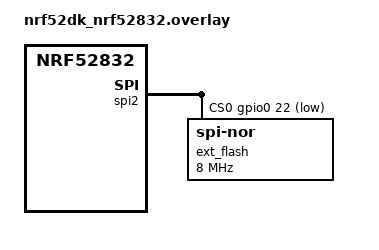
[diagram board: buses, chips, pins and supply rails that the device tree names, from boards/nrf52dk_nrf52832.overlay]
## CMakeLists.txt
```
# Cremind Tag bridge (docs/bridge-firmware.md). Build with tools/build.py:
#   python tools/build.py bridge-nrf52840dk bridge-nrf52dk
cmake_minimum_required(VERSION 3.20.0)
find_package(Zephyr REQUIRED HINTS $ENV{ZEPHYR_BASE})
project(cremind_tag_bridge)

# Build id for HELLO/INFO: the repository's git describe, when available.
execute_process(
  COMMAND git -c safe.directory=* -C ${CMAKE_CURRENT_SOURCE_DIR} describe --always --dirty --abbrev=10
  OUTPUT_VARIABLE ctag_build_id
  OUTPUT_STRIP_TRAILING_WHITESPACE
  ERROR_QUIET
  RESULT_VARIABLE ctag_git_result)
if(NOT ctag_git_result EQUAL 0 OR ctag_build_id STREQUAL "")
  set(ctag_build_id "unknown")
endif()
zephyr_compile_definitions(CTAG_BRIDGE_BUILD="${ctag_build_id}")

target_include_directories(app PRIVATE src src/core)
target_sources(app PRIVATE
  src/core/bflash.c
  src/core/fontstore.c
  src/core/delivery.c
  src/core/tagsess.c
  src/core/maint.c
  src/main.c
  src/mesh.c
  src/central.c
  src/maint_port.c
  src/persist.c
  src/identify.c)
```

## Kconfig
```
# Cremind Tag bridge application options (docs/bridge-firmware.md).

rsource "Kconfig.bridge"

menu "Cremind Tag bridge application"

config CTAG_BRIDGE_BOARD_ID
	int "Protocol board id (spec.yaml boards)"
	default 3
	help
	  NRF52840_BRIDGE = 3, NRF52832_BRIDGE = 4 (set per SoC). Reported in
	  CAPS_STATUS, HELLO caps and the device UUID.

config CTAG_BRIDGE_WQ_STACK_SIZE
	int "Bridge work queue stack"
	default 4096
	help
	  Mesh message processing, layout validation (SHA-256), the render
	  pre-pass (renderer + QR ~0.5 KiB + the font-pack reader), the session
	  handshake (PSA HMAC/HKDF ~1 KiB) and settings writes.

config CTAG_BRIDGE_WQ_PRIORITY
	int "Bridge work queue priority"
	default 10
	help
	  Preemptible and below the mesh advertiser (7): rendering never delays
	  mesh transmissions.

config CTAG_BRIDGE_MAINT_PRIORITY
	int "Maintenance thread priority"
	default 12
	help
	  The maintenance thread is the main thread (after it started the work
	  queue), so its stack is CONFIG_MAIN_STACK_SIZE: CBOR decode (~0.5 KiB),
	  INFO's counter list (~1.2 KiB), and FONT_COMMIT's SHA-256 and
	  font-pack validation (fontpack_open ~0.5 KiB).

config CTAG_BRIDGE_MAINT_TX_RING
	int "Maintenance port: transmit ring (bytes)"
	default 512
	help
	  Responses are COBS-encoded into it block by block; the thread waits
	  while the port drains it.

config CTAG_BRIDGE_EVENT_QUEUE
	int "Bluetooth events queued for the work queue"
	default 32

config CTAG_BRIDGE_MESH_RXQ
	int "Vendor mesh messages queued for the work queue"
	default 8

config CTAG_BRIDGE_MESH_TXQ
	int "Outbound vendor mesh messages"
	default 12

config CTAG_BRIDGE_CFG_QUIET_MS
	int "No tag connections this long after provisioning (configuration)"
	default 10000

config CTAG_BRIDGE_TAG_SEEN_INTERVAL_MS
	int "TAG_SEEN at most this often per tag"
	default 60000

config CTAG_BRIDGE_LIVENESS_S
	int "Reboot after this long idle without any advertising report (0: off)"
	default 1800
	help
	  A provisioned, idle bridge (its mesh scanning) that hears no
	  advertising report at all for this long reboots: its scanner stopped
	  without an error the scheduler could see (docs/bridge-firmware.md 4).
	  Every mesh node in range beacons at least every 600 s.

endmenu

source "Kconfig.zephyr"
```

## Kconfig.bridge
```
# Bridge options shared by the application (Kconfig) and its native_sim tests
# (tests/*/Kconfig). docs/bridge-firmware.md explains each.

menu "Cremind Tag bridge"

config CTAG_BRIDGE_WORKING_SPACE
	int "External-flash working space (bytes)"
	default 16777216
	help
	  Bytes at the end of the external flash kept out of the two font-pack
	  slots: slot_size = align_down_64K((flash_size - working_space) / 2)
	  (docs/fontpack.md 3). Production parts use FONTPACK_WORKING_SPACE
	  (16 MiB); a development board with a small part (the nRF52840 DK's
	  8 MiB MX25R64) configures 1 MiB, which `cremind-tag fonts image`
	  assumes for that board. Holds the slot directory (64 KiB), the
	  pending-layout ring and a 64 KiB spare block.

config CTAG_BRIDGE_READ_CACHE_LINES
	int "Font-pack read cache: lines"
	default 16
	range 1 256

config CTAG_BRIDGE_READ_CACHE_LINE
	int "Font-pack read cache: bytes per line (power of two)"
	default 128
	help
	  The renderer reads strike records (12 B), glyph index entries (10 B)
	  and bitmap rows (<= 32 B) one at a time; a line holds the neighbours
	  that the next strip reads again.

config CTAG_BRIDGE_STRIP_BUF
	int "Strip buffer (bytes)"
	default 1024
	help
	  One strip of BRIDGE_STRIP_ROWS native rows: 800 bytes for a 400-px
	  panel. Wider panels render fewer rows per strip.

config CTAG_BRIDGE_MAX_TAGS
	int "Assignment table (tags per bridge, CAPS max_tags)"
	default 20
	range 1 20
	help
	  MAX_TAGS_PER_BRIDGE (20) unless the board's RAM needs a smaller
	  table. The bridge reports it as CAPS_STATUS.max_tags and answers
	  ASSIGN_SET beyond it with NO_RESOURCES.

config CTAG_BRIDGE_MAX_JOBS
	int "Jobs (pending layouts and tag commands)"
	default 24
	range 4 40
	help
	  Below the pending ring's minimum (2 * MAX_TAGS_PER_BRIDGE + 2 slots),
	  so a transfer always finds a free ring slot.

config CTAG_BRIDGE_RESULT_SLOTS
	int "DELIVERY_RESULTs awaiting RESULT_ACK"
	default 12
	range 2 64

config CTAG_BRIDGE_SESSIONS
	int "Tag sessions at once"
	default 1
	range 1 2
	help
	  Tag connections the bridge holds at once (docs/protocol.md 5.2).
	  Connections are initiated one at a time, each in its own mesh
	  suspend window, and a second one only while the first session's
	  link idles (its tag refreshing). Each session costs a struct tsess
	  (strip buffer, render work, records: ~4.5 KiB with four QR slots),
	  a Bluetooth connection (CONFIG_BT_MAX_CONN >= this) and ATT buffers
	  for its DATA fragments in flight (this x CTAG_BRIDGE_ATT_INFLIGHT <
	  CONFIG_BT_ATT_TX_COUNT). 2 on the nRF52840, 1 on the nRF52832.

config CTAG_BRIDGE_ATT_INFLIGHT
	int "DATA fragments handed to the host at once"
	default 6
	range 1 32
	help
	  Kept below CONFIG_BT_ATT_TX_COUNT so that writing a fragment never
	  blocks the bridge work queue on an ATT buffer.

config CTAG_BRIDGE_MAINT_MAX_FRAME
	int "Maintenance port: largest decoded frame (caps.max_frame)"
	default 4096
	range 256 4096
	help
	  The host learns it from HELLO's caps.max_frame and sizes FONT_DATA
	  chunks to fit (Cremind's app/tags/runtime/bridge_maint/client.py: max_frame - 36).

config CTAG_BRIDGE_MAINT_TX_FRAME
	int "Maintenance port: response frame buffer"
	default 1536
	range 256 4096
	help
	  Holds the largest response (INFO with every counter) and doubles as
	  FONT_COMMIT's read buffer for the pack's SHA-256.

config CTAG_BRIDGE_MAINT_CREDITS
	int "Maintenance port: frames the host may send ahead (caps.credits)"
	default 2
	range 1 8
	help
	  The receive ring must hold this many maximum-size encoded frames.

# The tag connection scheduler (lib/sched, CONFIG_CTAG_SCHED in prj.conf):
# one link per tag session and one back-off entry per assignable tag
# (central.c asserts both).
config CTAG_SCHED_LINKS
	default CTAG_BRIDGE_SESSIONS if CTAG_SCHED

config CTAG_SCHED_TAGS
	default CTAG_BRIDGE_MAX_TAGS if CTAG_SCHED

endmenu
```

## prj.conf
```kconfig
# Cremind Tag bridge: every target. Per-SoC fragments in socs/, per-board in
# boards/ (docs/building.md). Debug logging: debug.conf (docs/bridge-firmware.md).

# ---- Libraries (docs/firmware-libs.md) ----
CONFIG_CTAG_FRAME=y
CONFIG_CTAG_CBOR=y
CONFIG_CTAG_RENDER=y
CONFIG_CTAG_FRAG=y
CONFIG_CTAG_SESSION=y
# The tag connection scheduler (docs/protocol.md 5.2); its links and back-off
# entries follow CTAG_BRIDGE_SESSIONS and CTAG_BRIDGE_MAX_TAGS (Kconfig.bridge).
CONFIG_CTAG_SCHED=y

# ---- Bluetooth: the Zephyr controller (bt-ll-sw-split snippet) ----
CONFIG_BT=y
CONFIG_BT_CENTRAL=y
CONFIG_BT_OBSERVER=y
CONFIG_BT_BROADCASTER=y
CONFIG_BT_PERIPHERAL=n
CONFIG_BT_GATT_CLIENT=y
CONFIG_BT_MAX_CONN=1
CONFIG_BT_SMP=n
CONFIG_BT_SETTINGS=y
CONFIG_BT_DEVICE_NAME="Cremind Tag bridge"
CONFIG_BT_GATT_CACHING=n
CONFIG_BT_GAP_AUTO_UPDATE_CONN_PARAMS=n
# ATT MTU 23 (the protocol's baseline): fragments are ATT_VALUE_MAX bytes.
CONFIG_BT_L2CAP_TX_MTU=23
CONFIG_BT_BUF_ACL_RX_SIZE=27
CONFIG_BT_BUF_ACL_TX_SIZE=27
# DATA fragments in flight (CTAG_BRIDGE_ATT_INFLIGHT = 6) never exhaust these,
# so a write from the work queue never blocks on an ATT buffer.
CONFIG_BT_ATT_TX_COUNT=8
CONFIG_BT_L2CAP_TX_BUF_COUNT=8
CONFIG_BT_BUF_ACL_TX_COUNT=8
CONFIG_BT_BUF_EVT_RX_COUNT=12
CONFIG_BT_CTLR_CRYPTO=y

# ---- Bluetooth Mesh: provisionee + relay (docs/protocol.md 2) ----
CONFIG_BT_MESH=y
CONFIG_BT_MESH_PB_ADV=y
CONFIG_BT_MESH_PB_GATT=n
CONFIG_BT_MESH_PROVISIONEE=y
CONFIG_BT_MESH_GATT_PROXY=n
CONFIG_BT_MESH_FRIEND=n
CONFIG_BT_MESH_LOW_POWER=n
CONFIG_BT_MESH_CDB=n
CONFIG_BT_MESH_CFG_CLI=n
# Never the legacy advertiser: bt_mesh_suspend() can block forever with it
# (docs/firmware-notes.md correction 4).
CONFIG_BT_MESH_ADV_EXT=y
CONFIG_BT_MESH_RELAY=y
CONFIG_BT_MESH_RELAY_ENABLED=y
CONFIG_BT_MESH_RELAY_RETRANSMIT_COUNT=2
CONFIG_BT_MESH_RELAY_RETRANSMIT_INTERVAL=20
CONFIG_BT_MESH_DEFAULT_TTL=5
# 160-byte vendor parameters need >= MESH_MIN_SEG segments.
CONFIG_BT_MESH_TX_SEG_MAX=16
CONFIG_BT_MESH_RX_SEG_MAX=16
CONFIG_BT_MESH_TX_SEG_MSG_COUNT=2
CONFIG_BT_MESH_RX_SEG_MSG_COUNT=2

# ---- Storage: mesh state and the bridge's records (settings on NVS) ----
CONFIG_FLASH=y
CONFIG_FLASH_MAP=y
CONFIG_FLASH_PAGE_LAYOUT=y
CONFIG_NVS=y
CONFIG_SETTINGS=y

# ---- Crypto: PSA (mesh requires it; the tag session uses HMAC, SHA-256, CCM) ----
CONFIG_PSA_WANT_ALG_HMAC=y
CONFIG_PSA_WANT_ALG_SHA_256=y
CONFIG_PSA_WANT_ALG_CCM=y
CONFIG_PSA_WANT_KEY_TYPE_AES=y
CONFIG_PSA_WANT_KEY_TYPE_HMAC=y
CONFIG_ENTROPY_GENERATOR=y

# ---- Kernel and drivers ----
CONFIG_HWINFO=y
CONFIG_REBOOT=y
CONFIG_GPIO=y
CONFIG_SERIAL=y
CONFIG_UART_INTERRUPT_DRIVEN=y
CONFIG_RING_BUFFER=y
# main() starts the work queue (the boot runs on it) and then is the
# maintenance thread: CBOR, INFO's counters, FONT_COMMIT's SHA-256 and pack
# validation (CONFIG_CTAG_BRIDGE_MAINT_PRIORITY).
CONFIG_MAIN_STACK_SIZE=3072
CONFIG_SYSTEM_WORKQUEUE_STACK_SIZE=2048

# ---- No console or logging in release builds (the maintenance port owns the
# serial link); debug.conf routes logs to RTT. ----
CONFIG_LOG=n
CONFIG_CONSOLE=n
CONFIG_UART_CONSOLE=n
CONFIG_PRINTK=n
CONFIG_ASSERT=n
CONFIG_BOOT_BANNER=n
CONFIG_NCS_BOOT_BANNER=n
```

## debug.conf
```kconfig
# Debug builds only: logs and thread stack analysis over SEGGER RTT (the
# maintenance port keeps the serial link). Pass as an extra fragment:
#   west build ... -- -DEXTRA_CONF_FILE=debug.conf
CONFIG_LOG=y
CONFIG_LOG_MODE_DEFERRED=y
CONFIG_LOG_BACKEND_RTT=y
CONFIG_LOG_BACKEND_UART=n
CONFIG_USE_SEGGER_RTT=y
CONFIG_PRINTK=y
CONFIG_CONSOLE=y
CONFIG_RTT_CONSOLE=y
CONFIG_UART_CONSOLE=n
CONFIG_ASSERT=y
CONFIG_THREAD_NAME=y
CONFIG_THREAD_ANALYZER=y
CONFIG_THREAD_ANALYZER_USE_LOG=y
CONFIG_THREAD_ANALYZER_AUTO=y
CONFIG_THREAD_ANALYZER_AUTO_INTERVAL=60
```

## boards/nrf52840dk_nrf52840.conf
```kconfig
# nRF52840 DK (development): the on-board MX25R6435F has 8 MiB, so the working
# space is 1 MiB (docs/fontpack.md 3; `cremind-tag fonts image` assumes the
# same for this board). Production parts keep the 16 MiB default.
CONFIG_CTAG_BRIDGE_WORKING_SPACE=1048576

# Link into code_partition (boards/*.overlay): never into the storage.
CONFIG_USE_DT_CODE_PARTITION=y
```

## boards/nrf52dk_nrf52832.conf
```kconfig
# nRF52 DK (development): an 8 MiB placeholder SPI NOR, so a 1 MiB working
# space as on the nRF52840 DK.
CONFIG_CTAG_BRIDGE_WORKING_SPACE=1048576

# Link into code_partition (boards/*.overlay): never into the storage.
CONFIG_USE_DT_CODE_PARTITION=y
```

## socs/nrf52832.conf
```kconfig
# nRF52832 bridge (board id NRF52832_BRIDGE): 64 KiB of RAM, >= 8 KiB of it
# left free (tools/targets.yaml). Pending layouts stay in external flash.
CONFIG_CTAG_BRIDGE_BOARD_ID=4

# External SPI NOR (placeholder pins: boards/nrf52dk_nrf52832.overlay).
CONFIG_SPI=y
CONFIG_SPI_NOR=y
CONFIG_SPI_NOR_FLASH_LAYOUT_PAGE_SIZE=4096

# Maintenance port on the UART: 512-byte frames, one ahead (the client learns
# caps.max_frame from HELLO and sends 476-byte FONT_DATA chunks); the
# response buffer holds INFO with every counter (at most 1,117 bytes).
CONFIG_CTAG_BRIDGE_MAINT_MAX_FRAME=512
CONFIG_CTAG_BRIDGE_MAINT_TX_FRAME=1280
CONFIG_CTAG_BRIDGE_READ_CACHE_LINES=8
CONFIG_CTAG_BRIDGE_READ_CACHE_LINE=64

# ---- RAM (docs/bridge-firmware.md "Memory"): what the mesh bridge does not need ----
# One advertising set: relayed and own mesh messages share it (a 5-bridge
# network), no auxiliary sets (mesh and tags use legacy PDUs only).
CONFIG_BT_EXT_ADV_MAX_ADV_SET=1
CONFIG_BT_MESH_RELAY_ADV_SETS=0
CONFIG_BT_CTLR_ADV_SET=1
# (0 does not build: ull_adv needs TICKER_ID_ADV_AUX_BASE with ADV_EXT.)
CONFIG_BT_CTLR_ADV_AUX_SET=1
CONFIG_BT_CTLR_ADV_EXT_RX_PDU_LEN_MAX=31
# Mesh scanning wants every report: no controller duplicate filter.
CONFIG_BT_CTLR_DUP_FILTER_LEN=0
CONFIG_BT_MESH_RELAY_BUF_COUNT=6
CONFIG_BT_MESH_MSG_CACHE_SIZE=16
# Only unicast requests: no delayed responses.
CONFIG_BT_MESH_ACCESS_DELAYABLE_MSG=n
# Mesh settings are stored from the system work queue.
CONFIG_BT_MESH_SETTINGS_WORKQ=n
CONFIG_MBEDTLS_PSA_KEY_SLOT_COUNT=8
CONFIG_BT_BUF_EVT_RX_COUNT=8
CONFIG_BT_BUF_ACL_TX_COUNT=6
CONFIG_BT_L2CAP_TX_BUF_COUNT=6
CONFIG_BT_ATT_TX_COUNT=6
CONFIG_CTAG_BRIDGE_ATT_INFLIGHT=4
# One tag session at a time: a second one (its session state, a connection
# and ATT buffers, ~3.5 KiB) does not fit above the 8 KiB target; the
# nRF52840 holds two (docs/protocol.md 5.2).
CONFIG_CTAG_BRIDGE_SESSIONS=1
# Bridge queues and tables. Ten tags per bridge (CAPS max_tags = 10; the
# nRF52840 keeps MAX_TAGS_PER_BRIDGE = 20).
CONFIG_CTAG_BRIDGE_MAX_TAGS=10
CONFIG_CTAG_BRIDGE_EVENT_QUEUE=16
CONFIG_CTAG_BRIDGE_MESH_RXQ=6
CONFIG_CTAG_BRIDGE_MESH_TXQ=8
CONFIG_CTAG_BRIDGE_MAX_JOBS=16
CONFIG_CTAG_BRIDGE_RESULT_SLOTS=8
CONFIG_CTAG_BRIDGE_STRIP_BUF=800
# One QR symbol kept across strips (408 B each; four would cost 1,224 B more
# than this SoC has above its 8 KiB target). QR commands beyond it re-encode
# per strip with their remembered mask (docs/bridge-firmware.md "Rendering").
CONFIG_CTAG_RENDER_QR_SLOTS=1
CONFIG_CTAG_BRIDGE_MAINT_CREDITS=1
CONFIG_CTAG_BRIDGE_MAINT_TX_RING=256
# The main thread is the maintenance thread (prj.conf).
CONFIG_MAIN_STACK_SIZE=2048
# HCI buffers sized for what the bridge exchanges: legacy-PDU reports (58-byte
# discardable events), no event above 68 bytes (LE Read Supported Commands),
# no command above 65 bytes (31-byte mesh advertising data).
CONFIG_BT_BUF_EVT_RX_SIZE=68
CONFIG_BT_BUF_EVT_DISCARDABLE_COUNT=10
CONFIG_BT_BUF_CMD_TX_SIZE=65
CONFIG_CTAG_BRIDGE_WQ_STACK_SIZE=3584
```

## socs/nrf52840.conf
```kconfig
# nRF52840 bridge (board id NRF52840_BRIDGE).
CONFIG_CTAG_BRIDGE_BOARD_ID=3

# Maintenance port: USB CDC ACM with the device_next stack (firmware-notes 7).
CONFIG_USB_DEVICE_STACK_NEXT=y
CONFIG_CDC_ACM_SERIAL_INITIALIZE_AT_BOOT=y
CONFIG_UART_LINE_CTRL=y
CONFIG_CDC_ACM_SERIAL_MANUFACTURER_STRING="Cremind"
CONFIG_CDC_ACM_SERIAL_PRODUCT_STRING="Cremind Tag bridge"
# pid.codes test VID/PID (1209:0001), not the Zephyr sample default: replace
# with an allocated pair before shipping hardware.
CONFIG_CDC_ACM_SERIAL_VID=0x1209
CONFIG_CDC_ACM_SERIAL_PID=0x0001

# Entropy from the RNG peripheral, never the CryptoCell library
# (firmware-notes correction 9; socs/nrf52840.overlay chooses &rng).
CONFIG_ENTROPY_CC3XX=n

# External flash on QSPI (4 KiB erase sectors).
CONFIG_NORDIC_QSPI_NOR=y
CONFIG_NORDIC_QSPI_NOR_FLASH_LAYOUT_PAGE_SIZE=4096

# Two tag sessions at once (docs/protocol.md 5.2: a second tag is initiated
# while the first one refreshes): two connections, and ATT buffers for both
# sessions' DATA fragments in flight (2 x CTAG_BRIDGE_ATT_INFLIGHT = 12 < 14;
# the host wants more HCI event buffers than ACL TX buffers).
CONFIG_CTAG_BRIDGE_SESSIONS=2
CONFIG_BT_MAX_CONN=2
CONFIG_BT_ATT_TX_COUNT=14
CONFIG_BT_L2CAP_TX_BUF_COUNT=14
CONFIG_BT_BUF_ACL_TX_COUNT=14
CONFIG_BT_BUF_EVT_RX_COUNT=16

# 256 KiB of RAM: full-size maintenance frames and a larger read cache.
CONFIG_CTAG_BRIDGE_MAINT_MAX_FRAME=4096
CONFIG_CTAG_BRIDGE_MAINT_TX_FRAME=1536
CONFIG_CTAG_BRIDGE_READ_CACHE_LINES=32
```

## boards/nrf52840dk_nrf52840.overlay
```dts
/*
 * nRF52840 DK bridge.
 *
 * - The on-board 8 MiB MX25R64 on QSPI holds the font packs and the working
 *   space (development part: 1 MiB working space, nrf52840dk_nrf52840.conf).
 * - No bootloader: the image links from 0 into code_partition, which ends
 *   where the settings storage (mesh state, assignments) begins, so the
 *   linker refuses an image that would grow into it.
 */
/ {
	chosen {
		cremind,bridge-flash = &mx25r64;
		zephyr,code-partition = &code_partition;
	};
};

/delete-node/ &boot_partition;
/delete-node/ &slot0_partition;
/delete-node/ &slot1_partition;

&flash0 {
	partitions {
		code_partition: partition@0 {
			compatible = "zephyr,mapped-partition";
			label = "code";
			reg = <0x00000000 0x000f8000>;
		};
	};
};
```

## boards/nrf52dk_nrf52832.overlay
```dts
/*
 * nRF52 DK bridge.
 *
 * - An external SPI NOR on DK-free Arduino header pins. PLACEHOLDERS until an
 *   nRF52832 bridge board is chosen (docs/bridge-firmware.md): SCK P0.25,
 *   MOSI P0.23, MISO P0.24 (the DK's arduino_spi = SPIM2), CS P0.22 (header
 *   D10); an 8 MiB MX25R6435F-compatible part.
 * - No bootloader: the image links from 0 into code_partition, which ends
 *   where the settings storage begins.
 */
/ {
	chosen {
		cremind,bridge-flash = &ext_flash;
		zephyr,code-partition = &code_partition;
	};
};

&spi2 {
	compatible = "nordic,nrf-spim";
	status = "okay";
	cs-gpios = <&gpio0 22 GPIO_ACTIVE_LOW>;

	ext_flash: flash@0 {
		compatible = "jedec,spi-nor";
		reg = <0>;
		spi-max-frequency = <8000000>;
		jedec-id = [c2 28 17];
		size = <67108864>; /* bits: 8 MiB */
		has-dpd;
		t-enter-dpd = <10000>;
		t-exit-dpd = <35000>;
	};
};

/* Not used by the bridge. */
&spi1 {
	status = "disabled";
};

&i2c0 {
	status = "disabled";
};

/delete-node/ &boot_partition;
/delete-node/ &slot0_partition;
/delete-node/ &slot1_partition;

&flash0 {
	partitions {
		code_partition: partition@0 {
			compatible = "zephyr,mapped-partition";
			label = "code";
			reg = <0x00000000 0x0007a000>;
		};
	};
};
```

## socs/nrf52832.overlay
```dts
/* nRF52832 bridge: the maintenance port is the UART (CH340 on the board, the
 * interface MCU's virtual COM port on the nRF52 DK). */
/ {
	chosen {
		cremind,bridge-maint = &uart0;
	};
};
```

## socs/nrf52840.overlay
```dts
/*
 * nRF52840 bridge: entropy from the RNG peripheral (firmware-notes
 * correction 9) and the maintenance port on a USB CDC ACM UART.
 */
/ {
	chosen {
		zephyr,entropy = &rng;
		cremind,bridge-maint = &cdc_acm_uart0;
	};
};

&zephyr_udc0 {
	cdc_acm_uart0: cdc_acm_uart0 {
		compatible = "zephyr,cdc-acm-uart";
	};
};
```

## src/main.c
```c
/* Cremind Tag bridge: boot and the bridge work queue (docs/bridge-firmware.md). */
#include <string.h>

#include <zephyr/bluetooth/bluetooth.h>
#include <zephyr/bluetooth/mesh.h>
#include <zephyr/drivers/flash.h>
#include <zephyr/kernel.h>
#include <zephyr/logging/log.h>
#include <zephyr/random/random.h>
#include <zephyr/settings/settings.h>
#include <zephyr/sys/util.h>

#include <ctag/ctag_crypto.h>

#include "bridge.h"

LOG_MODULE_REGISTER(bridge, LOG_LEVEL_INF);

#define GATEWAY_ADDR 0x0001

struct bridge br;
struct k_work_q bwq;
static K_THREAD_STACK_DEFINE(bwq_stack, CONFIG_CTAG_BRIDGE_WQ_STACK_SIZE);

/* ---- SHA-256 for the work queue (layout digests, frame pre-pass) ---- */

static ctag_sha256_ctx sha_ctx;

static int sha_init(void *ctx)
{
	return ctag_crypto_sha256_init(ctx);
}

static int sha_update(void *ctx, const uint8_t *data, size_t len)
{
	return ctag_crypto_sha256_update(ctx, data, len);
}

static int sha_finish(void *ctx, uint8_t digest[32])
{
	return ctag_crypto_sha256_finish(ctx, digest);
}

const struct ctag_sha256_ops bridge_sha = {sha_init, sha_update, sha_finish, &sha_ctx};

/* ---- Events from Bluetooth callbacks ---- */

K_MSGQ_DEFINE(bev_q, sizeof(struct bev), CONFIG_CTAG_BRIDGE_EVENT_QUEUE, 4);
static atomic_t bev_dropped;

static void bev_work_fn(struct k_work *work)
{
	struct bev e;

	ARG_UNUSED(work);
	while (k_msgq_get(&bev_q, &e, K_NO_WAIT) == 0) {
		central_event(&e);
	}
}

static K_WORK_DEFINE(bev_work, bev_work_fn);

void bev_post(const struct bev *e)
{
	/* Advertisements never crowd out connection and GATT events: they are
	 * dropped once the queue is half full (tags advertise again 250 ms later). */
	if ((e->type == BEV_ADVERT &&
	     k_msgq_num_used_get(&bev_q) >= CONFIG_CTAG_BRIDGE_EVENT_QUEUE / 2) ||
	    k_msgq_put(&bev_q, e, K_NO_WAIT) != 0) {
		atomic_inc(&bev_dropped);
		return;
	}
	(void)k_work_submit_to_queue(&bwq, &bev_work);
}

size_t bridge_counters(struct ctag_cbor_counter *items, size_t max)
{
	const struct dlv_counters *d = &br.dlv.c;
	size_t n = 0u;

	BRIDGE_COUNTER("events_dropped", (uint32_t)atomic_get(&bev_dropped));
	BRIDGE_COUNTER("layouts_accepted", d->layouts_accepted);
	BRIDGE_COUNTER("duplicates", d->duplicates);
	BRIDGE_COUNTER("superseded", d->superseded);
	BRIDGE_COUNTER("results", d->results);
	BRIDGE_COUNTER("result_resends", d->result_resends);
	BRIDGE_COUNTER("results_unacked", d->results_unacked);
	BRIDGE_COUNTER("results_repeated", d->results_repeated);
	BRIDGE_COUNTER("storage_errors", d->storage_errors);
	BRIDGE_COUNTER("unauth_final", d->unauth_final);
	BRIDGE_COUNTER("queue_depth", dlv_queue_depth(&br.dlv));
	BRIDGE_COUNTER("assigned", dlv_assigned_count(&br.dlv));
	BRIDGE_COUNTER("flash_errors", br.flash.errors);
	BRIDGE_COUNTER("cache_hits", br.flash.hits);
	BRIDGE_COUNTER("cache_misses", br.flash.misses);
	n += central_counters(&items[n], max - n);
	n += mesh_counters(&items[n], max - n);
	return n;
}

/* ---- DELIVERY_RESULT re-sends (docs/protocol.md 3.4) ---- */

static void tick_fn(struct k_work *work)
{
	ARG_UNUSED(work);
	bridge_dlv_tick();
}

static K_WORK_DELAYABLE_DEFINE(tick_work, tick_fn);

void bridge_dlv_tick(void)
{
	uint32_t next = dlv_tick(&br.dlv, k_uptime_get_32());

	if (next == UINT32_MAX) {
		(void)k_work_cancel_delayable(&tick_work);
	} else {
		(void)k_work_reschedule_for_queue(&bwq, &tick_work, K_MSEC(next));
	}
}

static void dlv_send(void *ctx, uint8_t op, const uint8_t *params, size_t len)
{
	ARG_UNUSED(ctx);
	mesh_send(op, params, len, GATEWAY_ADDR);
	if (op == CTAG_MESH_OP_DELIVERY_RESULT) {
		/* Keeps an earlier deadline; tick_fn then computes the exact one. */
		(void)k_work_schedule_for_queue(&bwq, &tick_work, K_MSEC(CTAG_MESH_RESULT_RETRY_MS));
	}
}

/* ---- Boot (on the work queue; the main thread then serves the maintenance port) ---- */

static void init_fn(struct k_work *work)
{
	const struct device *ext = DEVICE_DT_GET(DT_CHOSEN(cremind_bridge_flash));
	struct dlv_env env = {
		.send = dlv_send,
		.save = persist_save,
		.flash = &br.flash,
		.fonts = &br.fonts,
		.sha = &bridge_sha,
	};
	uint8_t id[CTAG_FONTPACK_ID_LEN];
	int err;

	ARG_UNUSED(work);
	LOG_INF("Cremind Tag bridge %s, board %d", BRIDGE_FW, CONFIG_CTAG_BRIDGE_BOARD_ID);
	br.boot_id = sys_rand32_get();
	err = bflash_init(&br.flash, ext, CONFIG_CTAG_BRIDGE_WORKING_SPACE);
	br.flash_ok = err == 0;
	if (br.flash_ok) {
		LOG_INF("external flash %u B: slots of %u B, directory at 0x%x, %u pending slots",
			br.flash.geom.flash_size, br.flash.geom.slot_size, br.flash.geom.dir_off,
			br.flash.geom.pending_slots);
	} else {
		LOG_ERR("external flash unusable (%d): no font pack, no layouts", err);
	}
	err = ctag_crypto_init();
	if (err != 0) {
		LOG_ERR("PSA crypto init failed (%d)", err);
	}
	fontstore_init(&br.fonts, &br.flash, br.flash_ok);
	if (fontstore_active_id(&br.fonts, id)) {
		LOG_INF("font pack %02x%02x%02x%02x%02x%02x%02x%02x in slot %u", id[0], id[1], id[2],
			id[3], id[4], id[5], id[6], id[7], br.fonts.active.slot);
	} else if (br.fonts.has_record) {
		LOG_WRN("font pack in slot %u failed validation (%u)", br.fonts.active.slot,
			br.fonts.last_open_status);
	}
	env.flash_ok = br.flash_ok;
	dlv_init(&br.dlv, &env);
	sched_init(&br.sched, &central_sched_ops, NULL);
	for (uint8_t i = 0; i < ARRAY_SIZE(br.sess); i++) {
		tsess_init(&br.sess[i], &central_tsess_io, central_link_ctx(i), &br.dlv, &br.fonts,
			   &bridge_sha);
	}

	err = settings_subsys_init();
	if (err != 0) {
		LOG_ERR("settings init failed (%d)", err);
	}
	err = bt_enable(NULL);
	if (err != 0) {
		LOG_ERR("bt_enable failed (%d)", err);
		return;
	}
	err = mesh_init();
	if (err != 0) {
		LOG_ERR("mesh init failed (%d)", err);
		return;
	}
	/* Mesh state (keys, addresses, IV index) and the bridge's records. */
	(void)settings_load();
	dlv_start(&br.dlv, k_uptime_get_32());
	LOG_INF("%u tags assigned, %u jobs restored", dlv_assigned_count(&br.dlv),
		dlv_queue_depth(&br.dlv));
	err = central_init();
	if (err != 0) {
		LOG_ERR("central init failed (%d)", err);
	}
	mesh_start();
	/* Anything Bluetooth posted during the boot is handled now. */
	(void)k_work_submit_to_queue(&bwq, &bev_work);
	mesh_rx_drain();
	err = maint_port_start();
	if (err != 0) {
		LOG_ERR("maintenance port unavailable (%d)", err);
	}
}

static K_WORK_DEFINE(init_work, init_fn);

int main(void)
{
	struct k_work_queue_config cfg = {.name = "bridge"};

	k_work_queue_start(&bwq, bwq_stack, K_THREAD_STACK_SIZEOF(bwq_stack),
			   CONFIG_CTAG_BRIDGE_WQ_PRIORITY, &cfg);
	(void)k_work_submit_to_queue(&bwq, &init_work);
	/* This thread (and its stack) becomes the maintenance port's. */
	maint_port_run();
	return 0;
}
```

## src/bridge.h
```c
/*
 * Cremind Tag bridge application (docs/bridge-firmware.md): the portable core
 * (src/core) wired to Bluetooth Mesh, the BLE central, the external flash
 * and the maintenance port.
 *
 * Threads: Bluetooth callbacks and mesh model handlers only copy events into
 * queues; everything else runs on the bridge work queue (`bwq`), so the core
 * needs no locks. The maintenance port runs on the main thread; it shares
 * only the font store (which has a mutex) with the work queue, and reads the
 * counters for INFO.
 */
#ifndef BRIDGE_APP_H_
#define BRIDGE_APP_H_

#include <stdbool.h>
#include <stdint.h>

#include <app_version.h>
#include <zephyr/bluetooth/addr.h>
#include <zephyr/kernel.h>

#include <ctag/ctag_cbor.h>
#include <ctag/ctag_sched.h>

#include "bflash.h"
#include "delivery.h"
#include "fontstore.h"
#include "tagsess.h"

/* The firmware version: apps/bridge/VERSION (tools/version.py keeps it equal
 * to the repository's VERSION), as the tag's CAPS and the gateway's HELLO
 * report theirs. CAPS_STATUS and the Health server carry the numbers, the
 * maintenance port's HELLO/INFO the string. */
#define BRIDGE_FW_MAJOR APP_VERSION_MAJOR
#define BRIDGE_FW_MINOR APP_VERSION_MINOR
#define BRIDGE_FW_PATCH APP_PATCHLEVEL
#define BRIDGE_FW       APP_VERSION_STRING

/* INFO counters, written straight into items[max] (n: entries used) so the
 * lists are not copied on the maintenance stack. */
#define BRIDGE_COUNTER(lit, val)                                                                   \
	do {                                                                                       \
		if (n < max) {                                                                     \
			items[n++] = (struct ctag_cbor_counter)CTAG_CBOR_COUNTER(lit, (val));      \
		}                                                                                  \
	} while (0)

struct bridge {
	struct bflash flash;
	struct fontstore fonts;
	struct dlv dlv;
	struct sched sched;
	struct tsess sess[SCHED_LINKS]; /* one per link (CONFIG_CTAG_BRIDGE_SESSIONS) */
	bool flash_ok;
	uint32_t boot_id;
};

extern struct bridge br;
extern struct k_work_q bwq;
extern const struct ctag_sha256_ops bridge_sha;

/* Events from Bluetooth callbacks to the work queue. */
enum bev_type {
	BEV_ADVERT,
	BEV_CONNECTED,
	BEV_DISCONNECTED,
	BEV_GATT_STEP,
	BEV_CAPS,
	BEV_CTRL_WRITTEN,
	BEV_DATA_SENT,
	BEV_CTRL_VALUE,
	BEV_STATUS_VALUE,
};

struct bev {
	uint8_t type;
	uint8_t len;
	int8_t rssi;
	uint8_t flags;
	int err;
	uint32_t tag_id;
	void *ptr; /* the bt_conn of connected / disconnected */
	bt_addr_le_t addr;
	uint8_t link; /* the link a GATT event belongs to (connected/disconnected: by ptr) */
	uint8_t data[24];
};

void bev_post(const struct bev *e);
void central_event(const struct bev *e); /* on the work queue */

/* mesh.c */
int mesh_init(void);
void mesh_start(void);
/* Queue a vendor message to dst (0x0001 = the gateway) from the right model. */
void mesh_send(uint8_t op, const uint8_t *params, size_t len, uint16_t dst);
bool mesh_busy(void);
bool mesh_node_ready(void);
void mesh_set_suspended(bool suspended);
size_t mesh_counters(struct ctag_cbor_counter *items, size_t max);
void mesh_rx_drain(void);

/* central.c */
int central_init(void);
extern const struct sched_ops central_sched_ops;
extern const struct tsess_io central_tsess_io;
/* The tsess_io context of link i (br.sess[i]). */
void *central_link_ctx(uint8_t i);
size_t central_counters(struct ctag_cbor_counter *items, size_t max);

/* main.c */
void bridge_dlv_tick(void);
size_t bridge_counters(struct ctag_cbor_counter *items, size_t max);

/* maint_port.c */
/* On the work queue at the end of the boot: the port's receiver. */
int maint_port_start(void);
/* The main thread, once the work queue runs: the maintenance thread (never
 * returns once the port started). */
void maint_port_run(void);

/* persist.c */
int persist_save(void *ctx, const char *name, const void *data, size_t len);

/* identify.c */
void identify_start(uint8_t seconds);

#endif /* BRIDGE_APP_H_ */
```

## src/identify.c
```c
/* IDENTIFY / Health attention: blink the board LED (DT alias led0) for a while. */
#include <zephyr/devicetree.h>
#include <zephyr/drivers/gpio.h>
#include <zephyr/kernel.h>

#include "bridge.h"

#define BLINK_MS 250

#if DT_NODE_EXISTS(DT_ALIAS(led0))
static const struct gpio_dt_spec led = GPIO_DT_SPEC_GET(DT_ALIAS(led0), gpios);
static uint32_t toggles_left;
static bool configured;

static void blink_fn(struct k_work *work);
static K_WORK_DELAYABLE_DEFINE(blink, blink_fn);

static void blink_fn(struct k_work *work)
{
	ARG_UNUSED(work);
	if (toggles_left == 0u) {
		(void)gpio_pin_set_dt(&led, 0);
		return;
	}
	toggles_left--;
	(void)gpio_pin_toggle_dt(&led);
	(void)k_work_reschedule_for_queue(&bwq, &blink, K_MSEC(BLINK_MS));
}

void identify_start(uint8_t seconds)
{
	if (!configured) {
		configured = gpio_is_ready_dt(&led) &&
			     gpio_pin_configure_dt(&led, GPIO_OUTPUT_INACTIVE) == 0;
		if (!configured) {
			return;
		}
	}
	/* Even: the LED ends where it started. */
	toggles_left = (uint32_t)seconds * (1000u / BLINK_MS) & ~1u;
	(void)k_work_reschedule_for_queue(&bwq, &blink, K_NO_WAIT);
}
#else
void identify_start(uint8_t seconds)
{
	ARG_UNUSED(seconds); /* no LED on this board */
}
#endif
```

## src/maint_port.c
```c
/*
 * Maintenance port transport (docs/protocol.md 1.6): USB CDC ACM on the
 * nRF52840, the UART on the nRF52832 (chosen `cremind,bridge-maint`).
 * Interrupt-driven: the ISR moves bytes between the UART FIFO and two rings;
 * the maintenance thread feeds maint_rx() and so processes one frame at a
 * time. The receive ring holds the frames HELLO's caps.credits lets the host
 * send ahead.
 *
 * The maintenance thread is the main thread: once main() has started the
 * bridge work queue it runs maint_port_run(), so one stack
 * (CONFIG_MAIN_STACK_SIZE) serves the boot and then the port.
 */
#include <errno.h>
#include <string.h>

#include <zephyr/device.h>
#include <zephyr/drivers/uart.h>
#include <zephyr/kernel.h>
#include <zephyr/logging/log.h>
#include <zephyr/sys/reboot.h>
#include <zephyr/sys/ring_buffer.h>

#include <ctag/ctag_crypto.h>

#include "bridge.h"
#include "maint.h"

LOG_MODULE_REGISTER(bridge_maint, LOG_LEVEL_INF);

#define RX_RING (MAINT_CREDITS * CTAG_COBS_MAX_ENCODED(MAINT_MAX_FRAME) + 256)
#define TX_RING CONFIG_CTAG_BRIDGE_MAINT_TX_RING
#define TX_WAIT_MS 100
#define TX_GIVE_UP_MS 1000

static const struct device *const uart = DEVICE_DT_GET(DT_CHOSEN(cremind_bridge_maint));

RING_BUF_DECLARE(rx_ring, RX_RING);
RING_BUF_DECLARE(tx_ring, TX_RING);
static K_SEM_DEFINE(rx_sem, 0, 1);
static K_SEM_DEFINE(tx_sem, 0, 1);
static K_SEM_DEFINE(started, 0, 1);
static struct maint maint;
static uint32_t rx_overflow;
static uint32_t tx_timeouts;
static bool reboot_pending;

static void isr(const struct device *dev, void *user_data)
{
	ARG_UNUSED(user_data);
	while (uart_irq_update(dev) && uart_irq_is_pending(dev)) {
		if (uart_irq_rx_ready(dev)) {
			uint8_t buf[64];
			int n = uart_fifo_read(dev, buf, sizeof(buf));

			if (n > 0) {
				if (ring_buf_put(&rx_ring, buf, (uint32_t)n) < (uint32_t)n) {
					rx_overflow++; /* the frame fails its CRC; the host resyncs */
				}
				k_sem_give(&rx_sem);
			}
		}
		if (uart_irq_tx_ready(dev)) {
			uint8_t *p;
			uint32_t n = ring_buf_get_claim(&tx_ring, &p, 64);

			if (n == 0u) {
				uart_irq_tx_disable(dev);
				k_sem_give(&tx_sem);
			} else {
				int w = uart_fifo_fill(dev, p, (int)n);

				(void)ring_buf_get_finish(&tx_ring, w > 0 ? (uint32_t)w : 0u);
				k_sem_give(&tx_sem);
			}
		}
	}
}

static void port_write(void *ctx, const uint8_t *data, size_t len)
{
	int64_t deadline = k_uptime_get() + TX_GIVE_UP_MS;

	ARG_UNUSED(ctx);
	while (len > 0u) {
		uint32_t n = ring_buf_put(&tx_ring, data, (uint32_t)len);

		data += n;
		len -= n;
		uart_irq_tx_enable(uart);
		if (len == 0u) {
			break;
		}
		if (k_uptime_get() > deadline) {
			tx_timeouts++; /* nobody reads the port: drop the rest */
			return;
		}
		(void)k_sem_take(&tx_sem, K_MSEC(TX_WAIT_MS));
	}
}

static void port_reboot(void *ctx)
{
	ARG_UNUSED(ctx);
	reboot_pending = true;
}

static size_t port_counters(void *ctx, struct ctag_cbor_counter *items, size_t max)
{
	size_t n = 0u;

	ARG_UNUSED(ctx);
	BRIDGE_COUNTER("rx_overflow", rx_overflow);
	BRIDGE_COUNTER("tx_timeouts", tx_timeouts);
	return n + bridge_counters(&items[n], max - n);
}

static const struct maint_io io = {
	.write = port_write,
	.reboot = port_reboot,
	.counters = port_counters,
};

/* SHA-256 of the maintenance thread (FONT_COMMIT). */
static ctag_sha256_ctx sha_ctx;

static int sha_init(void *ctx)
{
	return ctag_crypto_sha256_init(ctx);
}

static int sha_update(void *ctx, const uint8_t *data, size_t len)
{
	return ctag_crypto_sha256_update(ctx, data, len);
}

static int sha_finish(void *ctx, uint8_t digest[32])
{
	return ctag_crypto_sha256_finish(ctx, digest);
}

static const struct ctag_sha256_ops sha = {sha_init, sha_update, sha_finish, &sha_ctx};

int maint_port_start(void)
{
	if (!device_is_ready(uart)) {
		return -ENODEV;
	}
	maint_init(&maint, &io, NULL, &br.fonts, &sha, br.boot_id, BRIDGE_FW, CTAG_BRIDGE_BUILD,
		   CONFIG_CTAG_BRIDGE_BOARD_ID);
	uart_irq_rx_disable(uart);
	uart_irq_tx_disable(uart);
	(void)uart_irq_callback_user_data_set(uart, isr, NULL);
	uart_irq_rx_enable(uart);
	k_sem_give(&started);
	return 0;
}

void maint_port_run(void)
{
	uint8_t buf[64];

	k_thread_priority_set(k_current_get(), CONFIG_CTAG_BRIDGE_MAINT_PRIORITY);
	k_thread_name_set(k_current_get(), "maint");
	(void)k_sem_take(&started, K_FOREVER);
	for (;;) {
		uint32_t n;

		(void)k_sem_take(&rx_sem, K_FOREVER);
		while ((n = ring_buf_get(&rx_ring, buf, sizeof(buf))) > 0u) {
			maint_rx(&maint, buf, n);
			if (reboot_pending) {
				/* 10: REBOOT answers first; let the answer leave the port. */
				for (int i = 0; i < 20 && !ring_buf_is_empty(&tx_ring); i++) {
					k_sleep(K_MSEC(10));
				}
				k_sleep(K_MSEC(50));
				sys_reboot(SYS_REBOOT_COLD);
			}
		}
	}
}
```

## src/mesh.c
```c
/*
 * Mesh node (docs/protocol.md 2-3): PB-ADV provisionee without OOB, Config and
 * Health servers, the vendor models LAYOUT_SRV and MGMT_SRV on the primary
 * element, and the outbound queue (one send at a time, held while the mesh
 * is suspended for a tag connection).
 */
#include <errno.h>
#include <string.h>

#include <zephyr/bluetooth/mesh.h>
#include <zephyr/drivers/hwinfo.h>
#include <zephyr/kernel.h>
#include <zephyr/logging/log.h>
#include <zephyr/sys/util.h>

#include "bridge.h"

LOG_MODULE_REGISTER(bridge_mesh, LOG_LEVEL_INF);

#define TX_RETRY_MS    50
#define TX_WATCHDOG_MS 10000
#define NET_PRIMARY    0x000

/* ---- Inbound: model handlers only queue the message ---- */

struct mesh_rx {
	uint8_t op;
	uint8_t len;
	uint16_t src;
	uint8_t data[CTAG_MESH_MAX_VENDOR_PARAMS];
};

K_MSGQ_DEFINE(mesh_rx_q, sizeof(struct mesh_rx), CONFIG_CTAG_BRIDGE_MESH_RXQ, 4);

static struct {
	uint32_t rx;
	uint32_t rx_dropped;
	uint32_t tx;
	uint32_t tx_failed;
	uint32_t tx_dropped;
	uint32_t tx_busy;
} cnt;

static void rx_work_fn(struct k_work *work);
static K_WORK_DEFINE(rx_work, rx_work_fn);

static int queue_rx(uint8_t op, struct bt_mesh_msg_ctx *ctx, struct net_buf_simple *buf)
{
	struct mesh_rx m = {.op = op, .src = ctx->addr};

	if (buf->len > sizeof(m.data)) {
		return -EINVAL;
	}
	m.len = (uint8_t)buf->len;
	memcpy(m.data, buf->data, buf->len);
	if (k_msgq_put(&mesh_rx_q, &m, K_NO_WAIT) != 0) {
		cnt.rx_dropped++; /* chunks are re-sent after LAYOUT_STATUS INCOMPLETE */
	}
	(void)k_work_submit_to_queue(&bwq, &rx_work);
	return 0;
}

#define HANDLER(name)                                                                            \
	static int h_##name(const struct bt_mesh_model *model, struct bt_mesh_msg_ctx *ctx,     \
			    struct net_buf_simple *buf)                                          \
	{                                                                                        \
		ARG_UNUSED(model);                                                               \
		return queue_rx(CTAG_MESH_OP_##name, ctx, buf);                                  \
	}

HANDLER(LAYOUT_BEGIN)
HANDLER(LAYOUT_CHUNK)
HANDLER(LAYOUT_COMMIT)
HANDLER(LAYOUT_CANCEL)
HANDLER(RESULT_ACK)
HANDLER(CAPS_GET)
HANDLER(HEALTH_GET)
HANDLER(ASSIGN_SET)
HANDLER(ASSIGN_DEL)
HANDLER(TAG_CMD)
HANDLER(IDENTIFY)

#define OP(name, len) {CTAG_MESH_OPCODE_##name, (len), h_##name}

static const struct bt_mesh_model_op layout_ops[] = {
	OP(LAYOUT_BEGIN, BT_MESH_LEN_EXACT(CTAG_MESH_LAYOUT_BEGIN_LEN)),
	OP(LAYOUT_CHUNK, BT_MESH_LEN_MIN(CTAG_MESH_LAYOUT_CHUNK_LEN)),
	OP(LAYOUT_COMMIT, BT_MESH_LEN_EXACT(CTAG_MESH_LAYOUT_COMMIT_LEN)),
	OP(LAYOUT_CANCEL, BT_MESH_LEN_EXACT(CTAG_MESH_LAYOUT_CANCEL_LEN)),
	OP(RESULT_ACK, BT_MESH_LEN_EXACT(CTAG_MESH_RESULT_ACK_LEN)),
	BT_MESH_MODEL_OP_END,
};

static const struct bt_mesh_model_op mgmt_ops[] = {
	OP(CAPS_GET, BT_MESH_LEN_EXACT(CTAG_MESH_CAPS_GET_LEN)),
	OP(HEALTH_GET, BT_MESH_LEN_EXACT(CTAG_MESH_HEALTH_GET_LEN)),
	OP(ASSIGN_SET, BT_MESH_LEN_EXACT(CTAG_MESH_ASSIGN_SET_LEN)),
	OP(ASSIGN_DEL, BT_MESH_LEN_EXACT(CTAG_MESH_ASSIGN_DEL_LEN)),
	OP(TAG_CMD, BT_MESH_LEN_EXACT(CTAG_MESH_TAG_CMD_LEN)),
	OP(IDENTIFY, BT_MESH_LEN_EXACT(CTAG_MESH_IDENTIFY_LEN)),
	BT_MESH_MODEL_OP_END,
};

/* ---- Composition ---- */

static void attention_on(const struct bt_mesh_model *model)
{
	ARG_UNUSED(model);
	identify_start(10);
}

static const struct bt_mesh_health_srv_cb health_cb = {.attn_on = attention_on};
static struct bt_mesh_health_srv health_srv = {.cb = &health_cb};
BT_MESH_HEALTH_PUB_DEFINE(health_pub, 0);

static const struct bt_mesh_model sig_models[] = {
	BT_MESH_MODEL_CFG_SRV,
	BT_MESH_MODEL_HEALTH_SRV(&health_srv, &health_pub),
};

static const struct bt_mesh_model vnd_models[] = {
	BT_MESH_MODEL_VND_CB(CTAG_MESH_COMPANY_ID, CTAG_MESH_MODEL_LAYOUT_SRV, layout_ops, NULL, NULL,
			     NULL),
	BT_MESH_MODEL_VND_CB(CTAG_MESH_COMPANY_ID, CTAG_MESH_MODEL_MGMT_SRV, mgmt_ops, NULL, NULL,
			     NULL),
};

#define LAYOUT_MODEL (&vnd_models[0])
#define MGMT_MODEL   (&vnd_models[1])

static const struct bt_mesh_elem elements[] = {
	BT_MESH_ELEM(0, sig_models, vnd_models),
};

static const struct bt_mesh_comp comp = {
	.cid = CTAG_MESH_COMPANY_ID,
	.pid = CTAG_NODE_ROLE_BRIDGE,
	.vid = (BRIDGE_FW_MAJOR << 8) | BRIDGE_FW_MINOR,
	.elem = elements,
	.elem_count = ARRAY_SIZE(elements),
};

/* ---- Provisioning (PB-ADV, no OOB: docs/protocol.md 2) ---- */

static uint8_t dev_uuid[16];
static atomic_t configured_at; /* uptime (ms) of provisioning; 0 = provisioned before boot */

static void node_reset_fn(struct k_work *work)
{
	ARG_UNUSED(work);
	/* Running sessions end first: their jobs are about to be forgotten. */
	for (size_t i = 0; i < ARRAY_SIZE(br.sess); i++) {
		if (tsess_active(&br.sess[i])) {
			tsess_abort(&br.sess[i], CTAG_STATUS_CANCELLED);
		}
	}
	dlv_reset(&br.dlv);
	(void)bt_mesh_prov_enable(BT_MESH_PROV_ADV);
}

static K_WORK_DEFINE(node_reset_work, node_reset_fn);

static void prov_complete(uint16_t net_idx, uint16_t addr)
{
	ARG_UNUSED(net_idx);
	atomic_set(&configured_at, (atomic_val_t)MAX(k_uptime_get_32(), 1u));
	LOG_INF("provisioned as 0x%04x", addr);
}

static void prov_reset(void)
{
	/* Config Node Reset (REMOVE_NODE): forget the tags and beacon again. */
	(void)k_work_submit_to_queue(&bwq, &node_reset_work);
}

static const struct bt_mesh_prov prov = {
	.uuid = dev_uuid,
	.complete = prov_complete,
	.reset = prov_reset,
};

bool mesh_node_ready(void)
{
	uint32_t at = (uint32_t)atomic_get(&configured_at);

	/* Configured = both vendor models bound to an app key; and not within the
	 * quiet window after provisioning, while CONFIGURE_NODE is still running. */
	return bt_mesh_is_provisioned() && LAYOUT_MODEL->keys[0] != BT_MESH_KEY_UNUSED &&
	       MGMT_MODEL->keys[0] != BT_MESH_KEY_UNUSED &&
	       (at == 0u || k_uptime_get_32() - at >= CONFIG_CTAG_BRIDGE_CFG_QUIET_MS);
}

/* ---- Outbound queue ---- */

struct mesh_tx {
	uint8_t op;
	uint8_t len;
	uint16_t dst;
	uint8_t data[CTAG_MESH_DELIVERY_RESULT_LEN];
};

static struct mesh_tx txq[CONFIG_CTAG_BRIDGE_MESH_TXQ];
static uint8_t tx_head, tx_count;
static bool tx_inflight;
static bool suspended;
static atomic_t tx_ended;

static void tx_work_fn(struct k_work *work);
static K_WORK_DELAYABLE_DEFINE(tx_work, tx_work_fn);

/* Mesh context: the send is over (segments acknowledged or given up). */
static void send_end(int err, void *cb_data)
{
	ARG_UNUSED(cb_data);
	if (err != 0) {
		cnt.tx_failed++;
	}
	atomic_set(&tx_ended, 1);
	(void)k_work_reschedule_for_queue(&bwq, &tx_work, K_NO_WAIT);
}

static const struct bt_mesh_send_cb send_cb = {.end = send_end};

static const struct bt_mesh_model *model_for(uint8_t op)
{
	switch (op) {
	case CTAG_MESH_OP_LAYOUT_STATUS:
	case CTAG_MESH_OP_DELIVERY_STAGE:
	case CTAG_MESH_OP_DELIVERY_RESULT:
		return LAYOUT_MODEL;
	default:
		return MGMT_MODEL;
	}
}

static void tx_kick(void)
{
	while (!tx_inflight && tx_count > 0u && !suspended) {
		const struct mesh_tx *t = &txq[tx_head];
		const struct bt_mesh_model *model = model_for(t->op);
		struct bt_mesh_msg_ctx ctx = {
			.net_idx = NET_PRIMARY,
			.app_idx = model->keys[0],
			.addr = t->dst,
			.send_ttl = BT_MESH_TTL_DEFAULT,
		};
		BT_MESH_MODEL_BUF_DEFINE(msg, CTAG_MESH_OPCODE_DELIVERY_RESULT,
					 CTAG_MESH_DELIVERY_RESULT_LEN);
		int err;

		if (!bt_mesh_is_provisioned() || ctx.app_idx == BT_MESH_KEY_UNUSED) {
			err = -EACCES; /* not configured: nothing can be sent */
		} else {
			bt_mesh_model_msg_init(&msg, CTAG_MESH_VENDOR_OPCODE(t->op));
			net_buf_simple_add_mem(&msg, t->data, t->len);
			tx_inflight = true;
			atomic_clear(&tx_ended);
			err = bt_mesh_model_send(model, &ctx, &msg, &send_cb, NULL);
		}
		if (err == 0) {
			cnt.tx++;
			/* The watchdog, unless the end callback already came. */
			(void)k_work_reschedule_for_queue(
				&bwq, &tx_work,
				atomic_get(&tx_ended) ? K_NO_WAIT : K_MSEC(TX_WATCHDOG_MS));
		} else {
			tx_inflight = false;
			if (err == -EBUSY || err == -ENOBUFS || err == -EAGAIN) {
				cnt.tx_busy++; /* a segmented send is still running: retry */
				(void)k_work_reschedule_for_queue(&bwq, &tx_work, K_MSEC(TX_RETRY_MS));
				return;
			}
			cnt.tx_dropped++;
		}
		tx_head = (uint8_t)((tx_head + 1u) % ARRAY_SIZE(txq));
		tx_count--;
	}
}

static void tx_work_fn(struct k_work *work)
{
	ARG_UNUSED(work);
	/* Also the watchdog: an end callback that never came frees the slot. */
	tx_inflight = false;
	tx_kick();
}

void mesh_send(uint8_t op, const uint8_t *params, size_t len, uint16_t dst)
{
	struct mesh_tx *t;

	if (len > sizeof(t->data)) {
		return;
	}
	if (tx_count == ARRAY_SIZE(txq)) {
		cnt.tx_dropped++; /* results are re-sent; stages and sightings are best effort */
		return;
	}
	t = &txq[(tx_head + tx_count) % ARRAY_SIZE(txq)];
	t->op = op;
	t->len = (uint8_t)len;
	t->dst = dst;
	memcpy(t->data, params, len);
	tx_count++;
	tx_kick();
}

bool mesh_busy(void)
{
	return tx_inflight || tx_count > 0u;
}

void mesh_set_suspended(bool s)
{
	suspended = s;
	if (!s) {
		tx_kick();
	}
}

/* ---- Inbound processing on the work queue ---- */

static void reply(uint8_t op, const uint8_t *buf, int len, uint16_t dst)
{
	if (len >= 0) {
		mesh_send(op, buf, (size_t)len, dst);
	}
}

static void caps_status(uint16_t dst)
{
	struct ctag_mesh_caps_status m = {
		.proto = CTAG_PROTO_VERSION,
		.fw_major = BRIDGE_FW_MAJOR,
		.fw_minor = BRIDGE_FW_MINOR,
		.fw_patch = BRIDGE_FW_PATCH,
		.board = CONFIG_CTAG_BRIDGE_BOARD_ID,
		.flash_mib = (uint16_t)MIN(br.flash.geom.flash_size >> 20, UINT16_MAX),
		.max_tags = CONFIG_CTAG_BRIDGE_MAX_TAGS,
		.assigned = dlv_assigned_count(&br.dlv),
	};
	uint8_t buf[CTAG_MESH_CAPS_STATUS_LEN];

	if (fontstore_active_id(&br.fonts, m.fontpack_id)) {
		m.flags |= 0x01u;
	}
	if (sched_busy(&br.sched)) {
		m.flags |= 0x02u;
	}
	reply(CTAG_MESH_OP_CAPS_STATUS, buf, ctag_mesh_caps_status_pack(&m, buf, sizeof(buf)), dst);
}

static void health_status(uint16_t dst)
{
	const struct sched_counters *c = &br.sched.c;
	struct ctag_mesh_health_status m = {
		.uptime_s = (uint32_t)(k_uptime_get() / 1000),
		.sessions_ok = (uint16_t)MIN(c->sessions_ok, UINT16_MAX),
		.sessions_fail = (uint16_t)MIN(c->sessions_fail, UINT16_MAX),
		.suspend_count = (uint16_t)MIN(c->suspend_count, UINT16_MAX),
		.suspend_max_ms = (uint16_t)MIN(c->suspend_max_ms, UINT16_MAX),
		.resume_fail = (uint16_t)MIN(c->resume_fail, UINT16_MAX),
		.queue_depth = dlv_queue_depth(&br.dlv),
		.last_status = br.sched.last_status,
	};
	uint8_t buf[CTAG_MESH_HEALTH_STATUS_LEN];

	reply(CTAG_MESH_OP_HEALTH_STATUS, buf, ctag_mesh_health_status_pack(&m, buf, sizeof(buf)),
	      dst);
}

static void assign_status(uint32_t tag_id, uint32_t epoch, uint8_t status, uint16_t dst)
{
	struct ctag_mesh_assign_status m = {.tag_id = tag_id, .epoch = epoch, .status = status};
	uint8_t buf[CTAG_MESH_ASSIGN_STATUS_LEN];

	reply(CTAG_MESH_OP_ASSIGN_STATUS, buf, ctag_mesh_assign_status_pack(&m, buf, sizeof(buf)),
	      dst);
}

static void handle(const struct mesh_rx *m)
{
	uint32_t now = k_uptime_get_32();

	switch (m->op) {
	case CTAG_MESH_OP_LAYOUT_BEGIN: {
		struct ctag_mesh_layout_begin b;

		if (ctag_mesh_layout_begin_unpack(&b, m->data, m->len) == 0) {
			dlv_layout_begin(&br.dlv, &b);
		}
		break;
	}
	case CTAG_MESH_OP_LAYOUT_CHUNK: {
		struct ctag_mesh_layout_chunk c;

		if (ctag_mesh_layout_chunk_unpack(&c, m->data, m->len) == 0) {
			dlv_layout_chunk(&br.dlv, &c);
		}
		break;
	}
	case CTAG_MESH_OP_LAYOUT_COMMIT: {
		struct ctag_mesh_layout_commit c;
		struct ctag_mesh_layout_status s = {0};
		uint8_t buf[CTAG_MESH_LAYOUT_STATUS_LEN];

		if (ctag_mesh_layout_commit_unpack(&c, m->data, m->len) == 0) {
			s.xfer_id = c.xfer_id;
			s.status = dlv_layout_commit(&br.dlv, c.xfer_id, now, &s.missing);
			reply(CTAG_MESH_OP_LAYOUT_STATUS, buf,
			      ctag_mesh_layout_status_pack(&s, buf, sizeof(buf)), m->src);
		}
		break;
	}
	case CTAG_MESH_OP_LAYOUT_CANCEL: {
		struct ctag_mesh_layout_cancel c;

		if (ctag_mesh_layout_cancel_unpack(&c, m->data, m->len) == 0) {
			dlv_layout_cancel(&br.dlv, c.update_id, now);
		}
		break;
	}
	case CTAG_MESH_OP_RESULT_ACK: {
		struct ctag_mesh_result_ack a;

		if (ctag_mesh_result_ack_unpack(&a, m->data, m->len) == 0) {
			dlv_result_ack(&br.dlv, a.result_seq);
		}
		break;
	}
	case CTAG_MESH_OP_CAPS_GET:
		caps_status(m->src);
		break;
	case CTAG_MESH_OP_HEALTH_GET:
		health_status(m->src);
		break;
	case CTAG_MESH_OP_ASSIGN_SET: {
		struct ctag_mesh_assign_set a;

		if (ctag_mesh_assign_set_unpack(&a, m->data, m->len) == 0) {
			assign_status(a.tag_id, a.epoch, dlv_assign_set(&br.dlv, &a, now), m->src);
		}
		break;
	}
	case CTAG_MESH_OP_ASSIGN_DEL: {
		struct ctag_mesh_assign_del a;

		if (ctag_mesh_assign_del_unpack(&a, m->data, m->len) == 0) {
			assign_status(a.tag_id, a.epoch, dlv_assign_del(&br.dlv, &a, now), m->src);
		}
		break;
	}
	case CTAG_MESH_OP_TAG_CMD: {
		struct ctag_mesh_tag_cmd t;

		if (ctag_mesh_tag_cmd_unpack(&t, m->data, m->len) == 0) {
			dlv_tag_cmd(&br.dlv, &t, now);
		}
		break;
	}
	case CTAG_MESH_OP_IDENTIFY: {
		struct ctag_mesh_identify i;

		if (ctag_mesh_identify_unpack(&i, m->data, m->len) == 0) {
			identify_start(i.seconds);
		}
		break;
	}
	default:
		break;
	}
}

static void rx_work_fn(struct k_work *work)
{
	struct mesh_rx m;

	ARG_UNUSED(work);
	while (k_msgq_get(&mesh_rx_q, &m, K_NO_WAIT) == 0) {
		cnt.rx++;
		handle(&m);
	}
}

void mesh_rx_drain(void)
{
	(void)k_work_submit_to_queue(&bwq, &rx_work);
}

/* ---- Init ---- */

int mesh_init(void)
{
	uint8_t id[8] = {0};

	/* UUID: "CTBR", board id, 3 zero bytes, then the FICR device id. The
	 * prefix lets `cremind-tag mesh scan --filter 43544252` list bridges. */
	(void)hwinfo_get_device_id(id, sizeof(id));
	memcpy(dev_uuid, "CTBR", 4);
	dev_uuid[4] = CONFIG_CTAG_BRIDGE_BOARD_ID;
	memcpy(&dev_uuid[8], id, sizeof(id));
	return bt_mesh_init(&prov, &comp);
}

void mesh_start(void)
{
	if (!bt_mesh_is_provisioned()) {
		int err = bt_mesh_prov_enable(BT_MESH_PROV_ADV);

		LOG_INF("unprovisioned: beaconing (%d)", err);
	} else {
		LOG_INF("provisioned; %s", mesh_node_ready() ? "configured" : "not configured yet");
	}
}

size_t mesh_counters(struct ctag_cbor_counter *items, size_t max)
{
	size_t n = 0u;

	BRIDGE_COUNTER("mesh_rx", cnt.rx);
	BRIDGE_COUNTER("mesh_rx_dropped", cnt.rx_dropped);
	BRIDGE_COUNTER("mesh_tx", cnt.tx);
	BRIDGE_COUNTER("mesh_tx_failed", cnt.tx_failed);
	BRIDGE_COUNTER("mesh_tx_dropped", cnt.tx_dropped);
	BRIDGE_COUNTER("mesh_tx_busy", cnt.tx_busy);
	BRIDGE_COUNTER("provisioned", bt_mesh_is_provisioned() ? 1u : 0u);
	BRIDGE_COUNTER("configured", mesh_node_ready() ? 1u : 0u);
	return n;
}
```
